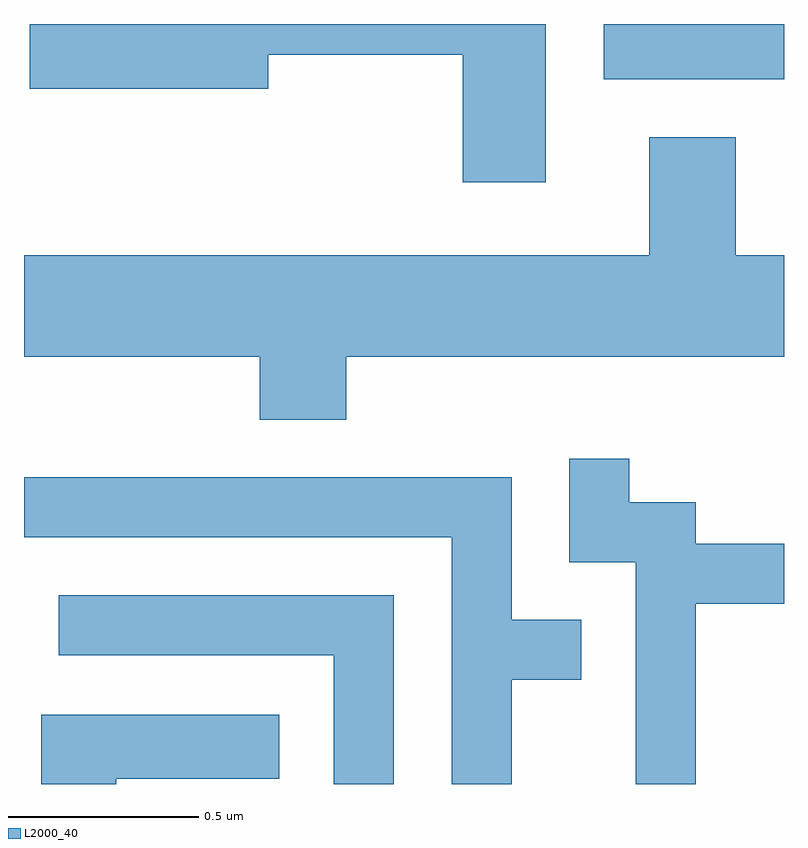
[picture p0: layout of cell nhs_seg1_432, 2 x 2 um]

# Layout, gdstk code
import gdstk
lib = gdstk.Library(unit=1e-6, precision=1e-09)
def R(c, l, rs):  # rectangles x0, y0, x1, y1
    for r in rs: c.add(gdstk.rectangle(r[:2], r[2:], *l))
def P(c, l, *ps):  # polygons
    for p in ps: c.add(gdstk.Polygon(p, *l))
L2000_40 = (2000, 40)

nhs_seg1_432 = lib.new_cell('nhs_seg1_432')
R(nhs_seg1_432, L2000_40, [(190.136,862.566,190.611,862.712)])
P(nhs_seg1_432, L2000_40, [(189.984,862.712),(188.626,862.712),(188.626,862.541),(189.254,862.541),(189.254,862.631),(189.766,862.631),(189.766,862.296),(189.984,862.296)],
  [(189.459,861.836),(190.611,861.836),(190.611,862.104),(190.484,862.104),(190.484,862.414),(190.256,862.414),(190.256,862.104),(188.611,862.104),(188.611,861.836),(189.231,861.836),(189.231,861.671),(189.459,861.671)],
  [(190.379,861.186),(190.611,861.186),(190.611,861.344),(190.379,861.344),(190.379,861.454),(190.204,861.454),(190.204,861.568),(190.046,861.568),(190.046,861.296),(190.221,861.296),(190.221,860.712),(190.379,860.712)],
  [(189.894,860.986),(190.078,860.986),(190.078,861.144),(189.894,861.144),(189.894,861.519),(188.611,861.519),(188.611,861.361),(189.736,861.361),(189.736,860.712),(189.894,860.712)],
  [(189.584,861.209),(188.703,861.209),(188.703,861.051),(189.426,861.051),(189.426,860.712),(189.584,860.712)],
  [(188.854,860.726),(189.283,860.726),(189.283,860.894),(188.656,860.894),(188.656,860.712),(188.854,860.712)])

lib.write_gds('nhs_seg1_432.gds')
